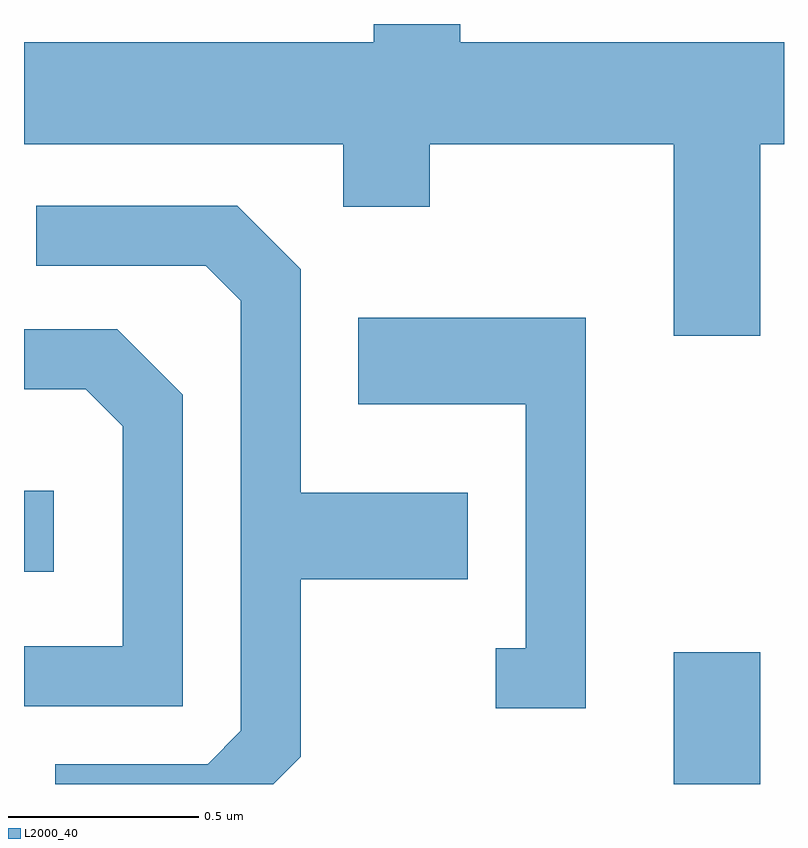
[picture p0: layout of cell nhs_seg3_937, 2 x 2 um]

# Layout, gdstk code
import gdstk
lib = gdstk.Library(unit=1e-6, precision=1e-09)
def R(c, l, rs):  # rectangles x0, y0, x1, y1
    for r in rs: c.add(gdstk.rectangle(r[:2], r[2:], *l))
def P(c, l, *ps):  # polygons
    for p in ps: c.add(gdstk.Polygon(p, *l))
L2000_40 = (2000, 40)

nhs_seg3_937 = lib.new_cell('nhs_seg3_937')
R(nhs_seg3_937, L2000_40, [(193.321,1230.892,193.549,1231.239), (191.611,1231.451,191.689,1231.664)])
P(nhs_seg3_937, L2000_40, [(193.549,1232.576),(193.611,1232.576),(193.611,1232.844),(192.759,1232.844),(192.759,1232.892),(192.531,1232.892),(192.531,1232.844),(191.611,1232.844),(191.611,1232.576),(192.451,1232.576),(192.451,1232.411),(192.679,1232.411),(192.679,1232.576),(193.321,1232.576),(193.321,1232.071),(193.549,1232.071)],
  [(192.339,1230.964),(192.339,1231.431),(192.779,1231.431),(192.779,1231.659),(192.339,1231.659),(192.339,1232.247),(192.172,1232.414),(191.643,1232.414),(191.643,1232.256),(192.089,1232.256),(192.181,1232.164),(192.181,1231.032),(192.094,1230.944),(191.693,1230.944),(191.693,1230.892),(192.267,1230.892)],
  [(193.089,1232.119),(192.491,1232.119),(192.491,1231.891),(192.931,1231.891),(192.931,1231.249),(192.853,1231.249),(192.853,1231.091),(193.089,1231.091)],
  [(192.029,1231.917),(191.857,1232.089),(191.611,1232.089),(191.611,1231.931),(191.774,1231.931),(191.871,1231.834),(191.871,1231.254),(191.611,1231.254),(191.611,1231.096),(192.029,1231.096)])

lib.write_gds('nhs_seg3_937.gds')
